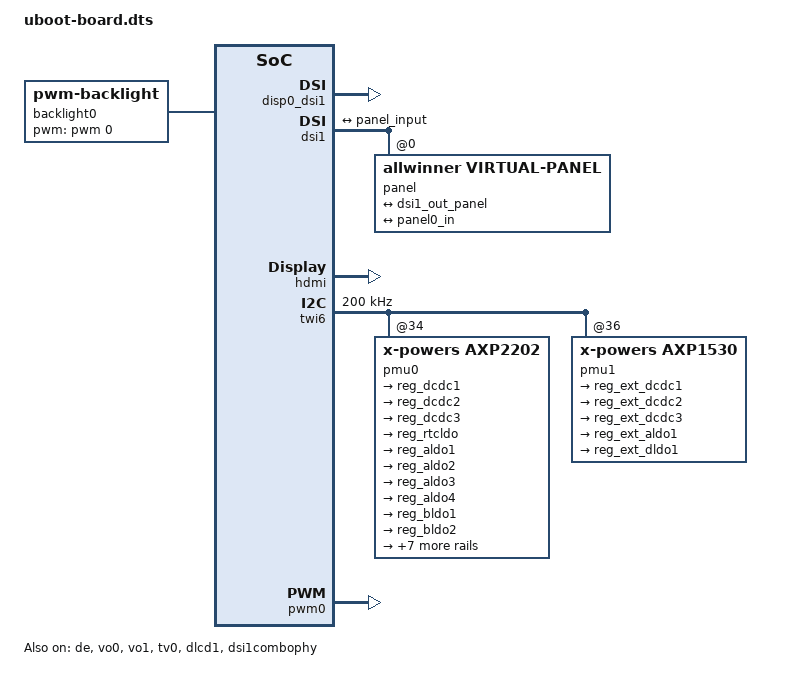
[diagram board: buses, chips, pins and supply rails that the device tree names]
/*
 * Allwinner Technology CO., Ltd. sun50iw10p1 soc board.
 *
 * soc board support.
 */
 #include <media_bus_format.h>
 #include <drm/drm_mipi_dsi.h>

/{
	backlight0: backlight0 {
		compatible = "pwm-backlight";
		brightness-levels = <
			  0   1   2   3   4   5   6   7
			  8   9  10  11  12  13  14  15
			 16  17  18  19  20  21  22  23
			 24  25  26  27  28  29  30  31
			 32  33  34  35  36  37  38  39
			 40  41  42  43  44  45  46  47
			 48  49  50  51  52  53  54  55
			 56  57  58  59  60  61  62  63
			 64  65  66  67  68  69  70  71
			 72  73  74  75  76  77  78  79
			 80  81  82  83  84  85  86  87
			 88  89  90  91  92  93  94  95
			 96  97  98  99 100 101 102 103
			104 105 106 107 108 109 110 111
			112 113 114 115 116 117 118 119
			120 121 122 123 124 125 126 127
			128 129 130 131 132 133 134 135
			136 137 138 139 140 141 142 143
			144 145 146 147 148 149 150 151
			152 153 154 155 156 157 158 159
			160 161 162 163 164 165 166 167
			168 169 170 171 172 173 174 175
			176 177 178 179 180 181 182 183
			184 185 186 187 188 189 190 191
			192 193 194 195 196 197 198 199
			200 201 202 203 204 205 206 207
			208 209 210 211 212 213 214 215
			216 217 218 219 220 221 222 223
			224 225 226 227 228 229 230 231
			232 233 234 235 236 237 238 239
			240 241 242 243 244 245 246 247
			248 249 250 251 252 253 254 255>;
		default-brightness-level = <200>;
		pwms = <&pwm 0 50000 0>;
	};
	panel_0: panel_0@0 {
		status = "okay";
		reg = <0>;
		power0-supply = <&reg_cldo4>;
		power1-supply = <&reg_cldo1>;
		reset-num = <1>;
		reset-delay-ms = <120>;
		power-delay-ms = <5>;
		reset-gpios = <&pio PD 22 1 0 3 1>; //reset
		backlight = <&backlight0>;
		dsi,flags = <MIPI_DSI_MODE_VIDEO>;
		dsi,lanes = <4>;
		dsi,format = <0>;
		panel-init-sequence = [
			05 0A 01 01
			15 00 02 36 14
			39 00 03 E0 AB BA
			39 00 03 E1 BA AB
			39 00 05 B1 10 01 47 FF
			39 00 07 B2 09 0E 01 50 50 14
			39 00 04 B3 56 D2 00
			39 00 04 B4 7A 60 04
			39 00 08 B6 BE 00 00 10 00 10 00
			39 00 08 B8 05 12 29 49 48 00 00
			39 00 27 B9 7C 6A 5E 52 4F 41 45 31 4C 4C 4C 67 53 58 4D 48 35 1D 06 7C 6A 5E 52 4F 41 45 31 4C 4C 4C 67 53 58 4D 48 35 1D 06
			39 00 11 C0 54 32 23 45 33 33 33 33 10 04 90 04 0F 00 00 C0
			39 00 0B C1 32 94 02 87 10 04 90 04 54 00
			39 00 0D C2 73 09 08 89 08 11 22 33 44 82 18 00
			39 00 17 C3 8B 49 13 11 0F 0D 00 00 00 02 02 02 02 02 02 02 02 02 05 07 02 02
			39 00 17 C4 0A 08 12 10 0E 0C 00 00 00 02 02 02 02 02 00 02 02 02 04 06 02 02
			39 00 04 C5 E8 85 76
			39 00 03 C6 2A 2A
			39 00 07 C8 21 00 32 40 44 16
			39 00 03 CA CB 43
			39 00 09 CD 0E 32 32 20 19 6B 06 B3
			39 00 05 D2 E3 2B 38 00
			39 00 0C D4 00 01 00 0E 04 44 08 10 10 4F 00
			39 00 09 E6 00 01 FF FF FF FF FF FF
			39 00 06 F0 32 05 20 00 FF
			15 00 02 F3 00
			05 32 01 11
			05 78 01 29
		];

		panel-exit-sequence = [
			05 14 01 28
			05 50 01 10
		];

		display-timings {
			native-mode = <&dsi1_timing0>;

			dsi1_timing0: timing0 {
				clock-frequency = <69000000>;
				hback-porch = <88>;
				hactive = <720>;
				hfront-porch = <32>;
				hsync-len = <4>;
				vback-porch = <9>;
				vactive = <1280>;
				vfront-porch = <78>;
				vsync-len = <4>;

			};
		};
		port {
			panel0_in: endpoint@0 {
				reg = <0>;
                                remote-endpoint = <&panel_output_0>;
                        };
		};
	};
};

&sunxi_drm {
	route {
		disp0_dsi1 {
			status = "okay";
		};
	};
};

&de {
	chn_cfg_mode = <3>;
	status = "okay";
};

&vo0 {
	status = "okay";
};

&vo1 {
	status = "okay";
};

&tv0 {
	status = "okay";
};

&dlcd1 {
	status = "okay";
};

&dsi1combophy {
	status = "okay";
};

&dsi1 {
	status = "okay";
	pinctrl-0 = <&dsi1_4lane_pins_a>;
	pinctrl-1 = <&dsi1_4lane_pins_b>;
	pinctrl-names = "active","sleep";
	ports {
		dsi1_out: port@1{
			dsi1_out_panel: endpoint {
				remote-endpoint = <&panel_input>;
			};
		};
	};
	panel: panel@0 {
		compatible = "allwinner,virtual-panel";
		status = "okay";
		reg = <0>;
		ports {
			panel_in: port@0 {
				reg = <0>;
				panel_input: endpoint@0 {
					reg = <0>;
					remote-endpoint = <&dsi1_out_panel>;
				};
			};
			panel_out: port@1 {
				reg = <1>;
				panel_output_0: endpoint@0 {
					reg = <0>;
					remote-endpoint = <&panel0_in>;
				};
			};
		};
	};
};

&hdmi {
	hdmi_used = <1>;
	cldo1-supply = <&reg_cldo1>;
	hdmi_power0 = "cldo1";
	hdmi_power_cnt = <1>;
	hdmi_hdcp_enable = <1>;
	hdmi_hdcp22_enable = <0>;
	hdmi_cts_compatibility = <0>;
	hdmi_cec_support = <1>;
	hdmi_cec_super_standby = <1>;
	hdmi_skip_bootedid = <1>;

	ddc_en_io_ctrl = <0>;
	power_io_ctrl = <0>;

	inno_phy = <
		 25000 165000 0x01000102 0x1c1c1c1c 0x00000000 0x00000000
		165000 340000 0x01040506 0x1c1c1c1c 0x00000000 0x03030300
		340000 600000 0x010f0f0f 0x1c1c1c1c 0x00000000 0x00000000>;

	status = "okay";
};

&power_sply {
	bldo1_vol = <1800>;
	bldo2_vol = <1001800>;
	cldo4_vol = <1103300>;
	dcdc1_mode = <1>;
	ext_dcdc0_mode = <1>;
	ext_dcdc1_mode = <1>;
	ext_dcdc2_mode = <1>;
	dcdc2_mode = <1>;
	bc12_mode = <0>;
	ntc_status = <2>;
	battery_exist = <1>;
};

&platform {
	eraseflag   = <0>;
	next_work   = <3>;
	debug_mode  = <1>;
};

&target {
	boot_clock = <1008>;	/*CPU boot frequency, Unit: MHz*/
	storage_type = <0xffffffff>; /*boot medium, 0-nand, 1-card0, 2-card2, -1(defualt)auto scan*/
	burn_key = <1>;		/*1:support burn key; 0:not support burn key*/
	dragonboard_test = <0>;	/*1:support card boot dragonboard; 0:not support card boot dragonboard*/
	auto_fel = <0>;
};


&charger0 {
	pmu_safe_vol = <3400>;
	ntc_cur = <50>;
	safe_temp_H = <600>;//60
	safe_temp_L = <0xFFFFFFCE>;//-5
	pmu_bat_temp_para1 = <4592>;
	pmu_bat_temp_para2 = <2781>;
	pmu_bat_temp_para3 = <2125>;
	pmu_bat_temp_para4 = <1738>;
	pmu_bat_temp_para5 = <1390>;
	pmu_bat_temp_para6 = <1118>;
	pmu_bat_temp_para7 = <906>;
	pmu_bat_temp_para8 = <606>;
	pmu_bat_temp_para9 = <415>;
	pmu_bat_temp_para10 = <290>;
	pmu_bat_temp_para11 = <244>;
	pmu_bat_temp_para12 = <206>;
	pmu_bat_temp_para13 = <175>;
	pmu_bat_temp_para14 = <150>;
	pmu_bat_temp_para15 = <110>;
	pmu_bat_temp_para16 = <83>;
};

&twi6 {
	clock-frequency = <200000>;
	pinctrl-0 = <&s_twi0_pins_a>;
	pinctrl-1 = <&s_twi0_pins_b>;
	twi-supply = <&reg_aldo3>;
	no_suspend = <1>;
	twi_drv_used = <1>;
	status = "okay";
	pmu0: pmu@34 {
		compatible = "x-powers,axp2202";
		status = "okay";
		/* interrupts = <0 IRQ_TYPE_LEVEL_LOW>;
		 * interrupt-parent = <&gic>; */
		x-powers,drive-vbus-en;

		wakeup-source;

		regulator0: regulators@0 {
			reg_dcdc1: dcdc1 {
				regulator-name = "axp2202-dcdc1";
			};
			reg_dcdc2: dcdc2 {
				regulator-name = "axp2202-dcdc2";
			};
			reg_dcdc3: dcdc3 {
				regulator-name = "axp2202-dcdc3";
			};
			reg_rtcldo: rtcldo {
				/* RTC_LDO is a fixed, always-on regulator */
				regulator-name = "axp2202-rtcldo";
			};
			reg_aldo1: aldo1 {
				regulator-name = "axp2202-aldo1";
			};
			reg_aldo2: aldo2 {
				regulator-name = "axp2202-aldo2";
			};
			reg_aldo3: aldo3 {
				regulator-name = "axp2202-aldo3";
			};
			reg_aldo4: aldo4 {
				regulator-name = "axp2202-aldo4";
			};
			reg_bldo1: bldo1 {
				regulator-name = "axp2202-bldo1";
			};
			reg_bldo2: bldo2 {
				regulator-name = "axp2202-bldo2";
			};
			reg_bldo3: bldo3 {
				regulator-name = "axp2202-bldo3";
			};
			reg_bldo4: bldo4 {
				regulator-name = "axp2202-bldo4";
			};
		//	reg_cldo1: cldo1 {
		///		regulator-name = "axp2202-cldo1";
		//	};
			reg_cldo2: cldo2 {
				regulator-name = "axp2202-cldo2";
			};
			reg_cldo3: cldo3 {
				regulator-name = "axp2202-cldo3";
			};
		//	reg_cldo4: cldo4 {
		//		regulator-name = "axp2202-cldo4";
		//	};
			reg_cpusldo: cpusldo {
				regulator-name = "axp2202-cpusldo";
			};

			reg_cldo1: cldo1 {
				regulator-name = "axp2202-cldo1";
				regulator-min-microvolt = <500000>;
				regulator-max-microvolt = <3500000>;
				regulator-enable-ramp-delay = <1000>;
			};
			reg_cldo4: cldo4 {
				regulator-name = "axp2202-cldo4";
				regulator-min-microvolt = <500000>;
				regulator-max-microvolt = <3500000>;
				regulator-enable-ramp-delay = <1000>;
			};
		};
	};

	pmu1: pmu@36 {
		compatible = "x-powers,axp1530";
		status = "okay";

		regulator1: regulators@1 {
			reg_ext_dcdc1: ext_dcdc1 {
				regulator-name = "axp1530-ext_dcdc1";
			};
			reg_ext_dcdc2: ext_dcdc2 {
				regulator-name = "axp1530-ext_dcdc2";
			};
			reg_ext_dcdc3: ext_dcdc3 {
				regulator-name = "axp1530-ext_dcdc3";
			};
			reg_ext_aldo1: ext_aldo1 {
				regulator-name = "axp1530-ext_aldo1";
			};
			reg_ext_dldo1: ext_dldo1 {
				regulator-name = "axp1530-ext_ldo1";
			};
		};
	};
};

&pwm0_pin_a {
	pins = "PD23";
	function = "pwm0";
	muxsel = <2>;
	drive-strength = <10>;
};

&pwm0_pin_b {
	pins = "PD23";
	muxsel = <0xf>;
	function = "io_disabled";
};

&pwm0 {
	pinctrl-names = "active", "sleep";
	pinctrl-0 = <&pwm0_pin_a>;
	pinctrl-1 = <&pwm0_pin_b>;
	status = "okay";
};

&sdc0_pins_a {
	allwinner,pins = "PF0", "PF1", "PF2",
			 "PF3", "PF4", "PF5";
	allwinner,function = "sdc0";
	allwinner,muxsel = <2>;
	allwinner,drive = <3>;
	allwinner,pull = <1>;
};

&sdc0_pins_b {
	allwinner,pins = "PF0", "PF1", "PF2",
			 "PF3", "PF4", "PF5";
	allwinner,function = "io_disabled";
	allwinner,muxsel = <7>;
	allwinner,drive = <1>;
	allwinner,pull = <1>;
};

&sdc0_pins_c {
	allwinner,pins = "PF0", "PF1", "PF2",
			 "PF3", "PF4", "PF5";
	allwinner,function = "uart0_jtag";
	allwinner,muxsel = <3>;
	allwinner,drive = <1>;
	allwinner,pull = <1>;
};


&sdc2_pins_a {
	allwinner,pins = "PC1", "PC5", "PC6",
			 "PC8", "PC9", "PC10", "PC11",
			 "PC13", "PC14", "PC15", "PC16";
	allwinner,function = "sdc2";
	allwinner,muxsel = <3>;
	allwinner,drive = <3>;
	allwinner,pull = <1>;
};

&sdc2_pins_b {
	allwinner,pins = "PC0", "PC1", "PC5", "PC6",
			 "PC8", "PC9", "PC10", "PC11",
			 "PC13", "PC14", "PC15", "PC16";
	allwinner,function = "io_disabled";
	allwinner,muxsel = <7>;
	allwinner,drive = <1>;
	allwinner,pull = <1>;
};

&sdc2_pins_c {
	allwinner,pins = "PC0";
	allwinner,function = "sdc2";
	allwinner,muxsel = <3>;
	allwinner,drive = <3>;
	allwinner,pull = <2>;
};

&nand0_pins_a {
	allwinner,pins = "PC0", "PC1", "PC2", "PC5",
			 "PC8", "PC9", "PC10", "PC11",
			 "PC12", "PC13", "PC14", "PC15",
			 "PC16";
	allwinner,pname= "nand0_we", "nand0_ale","nand0_cle", "nand0_nre",
			 "nand0_d0", "nand0_d1", "nand0_d2", "nand0_d3",
			 "nand0_d4", "nand0_d5", "nand0_d6", "nand0_d7",
			 "nand0_ndqs";
	allwinner,function = "nand0";
	allwinner,muxsel = <2>;
	allwinner,drive = <1>;
	allwinner,pull = <0>;
};

&nand0_pins_b {
	allwinner,pins = "PC4", "PC6", "PC03", "PC07";
	allwinner,pname= "nand0_ce0", "nand0_rb0", "nand0_ce1", "nand0_rb1";
	allwinner,function = "nand0";
	allwinner,muxsel = <2>;
	allwinner,drive = <1>;
	allwinner,pull = <1>;	/* only RB&CE should be pulled up */
};

&nand0_pins_c {
	allwinner,pins = "PC0", "PC1", "PC2", "PC3",
			 "PC4", "PC5", "PC6", "PC7",
			 "PC8", "PC9", "PC10", "PC11",
			 "PC12", "PC13", "PC14", "PC15",
			 "PC16";
	allwinner,function = "io_disabled";
	allwinner,muxsel = <7>;
	allwinner,drive = <1>;
	allwinner,pull = <0>;
};

&lvds0_pins_a {
	allwinner,pins = "PD0", "PD1", "PD2", "PD3", "PD4", "PD5", "PD6", "PD7", "PD8", "PD9";
	allwinner,pname = "PD0", "PD1", "PD2", "PD3", "PD4", "PD5", "PD6", "PD7", "PD8", "PD9";
	allwinner,function = "lvds0";
	allwinner,muxsel = <3>;
	allwinner,drive = <3>;
	allwinner,pull = <0>;
};

&lvds0_pins_b {
	allwinner,pins = "PD0", "PD1", "PD2", "PD3", "PD4", "PD5", "PD6", "PD7", "PD8", "PD9";
	allwinner,pname = "PD0", "PD1", "PD2", "PD3", "PD4", "PD5", "PD6", "PD7", "PD8", "PD9";
	allwinner,function = "lvds0_suspend";
	allwinner,muxsel = <7>;
	allwinner,drive = <3>;
	allwinner,pull = <0>;
};

&lvds1_pins_a {
	allwinner,pins = "PD10", "PD11", "PD12", "PD13", "PD14", "PD15", "PD18", "PD19", "PD16", "PD17";
	allwinner,pname = "PD10", "PD11", "PD12", "PD13", "PD14", "PD15", "PD18", "PD19", "PD16", "PD17";
	allwinner,function = "lvds1";
	allwinner,muxsel = <3>;
	allwinner,drive = <3>;
	allwinner,pull = <0>;
};

&lvds1_pins_b {
	allwinner,pins = "PD10", "PD11", "PD12", "PD13", "PD14", "PD15", "PD18", "PD19", "PD16", "PD17";
	allwinner,pname = "PD10", "PD11", "PD12", "PD13", "PD14", "PD15", "PD18", "PD19", "PD16", "PD17";
	allwinner,function = "lvds1_suspend";
	allwinner,muxsel = <7>;
	allwinner,drive = <3>;
	allwinner,pull = <0>;
};

&lvds2_pins_a {
	allwinner,pins = "PJ7", "PJ6", "PJ5", "PJ4", "PJ3", "PJ2", "PJ1", "PJ0", "PJ8", "PJ9";
	allwinner,pname = "PJ7", "PJ6", "PJ5", "PJ4", "PJ3", "PJ2", "PJ1", "PJ0", "PJ8", "PJ9";
	allwinner,function = "lvds2";
	allwinner,muxsel = <3>;
	allwinner,drive = <3>;
	allwinner,pull = <0>;
};

&lvds2_pins_b {
	allwinner,pins = "PJ7", "PJ6", "PJ5", "PJ4", "PJ3", "PJ2", "PJ1", "PJ0", "PJ8", "PJ9";
	allwinner,pname = "PJ7", "PJ6", "PJ5", "PJ4", "PJ3", "PJ2", "PJ1", "PJ0", "PJ8", "PJ9";
	allwinner,function = "lvds2_suspend";
	allwinner,muxsel = <7>;
	allwinner,drive = <3>;
	allwinner,pull = <0>;
};

&lvds3_pins_a {
	allwinner,pins = "PJ10", "PJ11", "PJ12", "PJ13", "PJ14", "PJ15", "PJ16", "PJ17", "PJ18", "PJ19";
	allwinner,pname = "PJ10", "PJ11", "PJ12", "PJ13", "PJ14", "PJ15", "PJ16", "PJ17", "PJ18", "PJ19";
	allwinner,function = "lvds3";
	allwinner,muxsel = <3>;
	allwinner,drive = <3>;
	allwinner,pull = <0>;
};

&lvds3_pins_b {
	allwinner,pins = "PJ10", "PJ11", "PJ12", "PJ13", "PJ14", "PJ15", "PJ16", "PJ17", "PJ18", "PJ19";
	allwinner,pname = "PJ10", "PJ11", "PJ12", "PJ13", "PJ14", "PJ15", "PJ16", "PJ17", "PJ18", "PJ19";
	allwinner,function = "lvds3_suspend";
	allwinner,muxsel = <7>;
	allwinner,drive = <3>;
	allwinner,pull = <0>;
};

&lcd1_lvds2link_pins_a {
	allwinner,pins = "PJ10", "PJ11", "PJ12", "PJ13", "PJ14", "PJ15", "PJ16", "PJ17", "PJ18", "PJ19", \
	"PJ7", "PJ6", "PJ5", "PJ4", "PJ3", "PJ2", "PJ1", "PJ0", "PJ8", "PJ9";
	allwinner,pname = "PJ10", "PJ11", "PJ12", "PJ13", "PJ14", "PJ15", "PJ16", "PJ17", "PJ18", "PJ19", \
	"PJ7", "PJ6", "PJ5", "PJ4", "PJ3", "PJ2", "PJ1", "PJ0", "PJ8", "PJ9";
	allwinner,function = "lvds3";
	allwinner,muxsel = <3>;
	allwinner,drive = <3>;
	allwinner,pull = <0>;
};

&lcd1_lvds2link_pins_b {
	allwinner,pins = "PJ10", "PJ11", "PJ12", "PJ13", "PJ14", "PJ15", "PJ16", "PJ17", "PJ18", "PJ19", \
	"PJ7", "PJ6", "PJ5", "PJ4", "PJ3", "PJ2", "PJ1", "PJ0", "PJ8", "PJ9";
	allwinner,pname = "PJ10", "PJ11", "PJ12", "PJ13", "PJ14", "PJ15", "PJ16", "PJ17", "PJ18", "PJ19", \
	"PJ7", "PJ6", "PJ5", "PJ4", "PJ3", "PJ2", "PJ1", "PJ0", "PJ8", "PJ9";
	allwinner,function = "lvds3_suspend";
	allwinner,muxsel = <7>;
	allwinner,drive = <3>;
	allwinner,pull = <0>;
};

&lvds2link_pins_a {
	allwinner,pins = "PD0", "PD1", "PD2", "PD3", "PD4", "PD5", "PD8", "PD9", "PD6", "PD7", \
	"PD10", "PD11", "PD12", "PD13", "PD14", "PD15", "PD18", "PD19", "PD16", "PD17";
	allwinner,pname = "PD0", "PD1", "PD2", "PD3", "PD4", "PD5", "PD8", "PD9", "PD6", "PD7", \
	"PD10", "PD11", "PD12", "PD13", "PD14", "PD15", "PD18", "PD19", "PD16", "PD17";
	allwinner,function = "lvds2link";
	allwinner,muxsel = <3>;
	allwinner,drive = <3>;
	allwinner,pull = <0>;
};

&lvds2link_pins_b {
	allwinner,pins = "PD0", "PD1", "PD2", "PD3", "PD4", "PD5", "PD8", "PD9", "PD6", "PD7", \
	"PD10", "PD11", "PD12", "PD13", "PD14", "PD15", "PD18", "PD19", "PD16", "PD17";
	allwinner,pname = "PD0", "PD1", "PD2", "PD3", "PD4", "PD5", "PD8", "PD9", "PD6", "PD7", \
	"PD10", "PD11", "PD12", "PD13", "PD14", "PD15", "PD18", "PD19", "PD16", "PD17";
	allwinner,function = "lvds2link_suspend";
	allwinner,muxsel = <7>;
	allwinner,drive = <3>;
	allwinner,pull = <0>;
};

&rgb24_pins_a {
	allwinner,pins = "PD0", "PD1", "PD2", "PD3", "PD4", "PD5", "PD6", "PD7", "PD8", "PD9", \
	"PD10", "PD11", "PD12", "PD13", "PD14", "PD15", "PD16", "PD17", "PD8", "PD9", \
	"PD20", "PD21", "PD22", "PD23", "PD24", "PD25", "PD26", "PD27";
	allwinner,pname = "PD0", "PD1", "PD2", "PD3", "PD4", "PD5", "PD6", "PD7", "PD8", "PD9", \
	"PD10", "PD11", "PD12", "PD13", "PD14", "PD15", "PD16", "PD17", "PD8", "PD9", \
	"PD20", "PD21", "PD22", "PD23", "PD24", "PD25", "PD26", "PD27";
	allwinner,function = "rgb24";
	allwinner,muxsel = <2>;
	allwinner,drive = <3>;
	allwinner,pull = <0>;
};

&rgb24_pins_b {
	allwinner,pins = "PD0", "PD1", "PD2", "PD3", "PD4", "PD5", "PD6", "PD7", "PD8", "PD9", \
	"PD10", "PD11", "PD12", "PD13", "PD14", "PD15", "PD16", "PD17", "PD8", "PD9", \
	"PD20", "PD21", "PD22", "PD23", "PD24", "PD25", "PD26", "PD27";
	allwinner,pname = "PD0", "PD1", "PD2", "PD3", "PD4", "PD5", "PD6", "PD7", "PD8", "PD9", \
	"PD10", "PD11", "PD12", "PD13", "PD14", "PD15", "PD16", "PD17", "PD8", "PD9", \
	"PD20", "PD21", "PD22", "PD23", "PD24", "PD25", "PD26", "PD27";
	allwinner,function = "rgb24_suspend";
	allwinner,muxsel = <7>;
	allwinner,drive = <3>;
	allwinner,pull = <0>;
};

&rgb18_pins_a {
	allwinner,pins = "PD0", "PD1", "PD2", "PD3", "PD4", "PD5", "PD6", "PD7", "PD8", "PD9", \
	"PD10", "PD11", "PD12", "PD13", "PD14", "PD15", "PD16", "PD17", "PD18", "PD19", \
	"PD20", "PD21";
	allwinner,pname = "PD0", "PD1", "PD2", "PD3", "PD4", "PD5", "PD6", "PD7", "PD8", "PD9", \
	"PD10", "PD11", "PD12", "PD13", "PD14", "PD15", "PD16", "PD17", "PD18", "PD19", \
	"PD20", "PD21";
	allwinner,function = "rgb18";
	allwinner,muxsel = <2>;
	allwinner,drive = <3>;
	allwinner,pull = <0>;
};

&rgb18_pins_b {
	allwinner,pins = "PD0", "PD1", "PD2", "PD3", "PD4", "PD5", "PD6", "PD7", "PD8", "PD9", \
	"PD10", "PD11", "PD12", "PD13", "PD14", "PD15", "PD16", "PD17", "PD18", "PD19", \
	"PD20", "PD21";
	allwinner,pname = "PD0", "PD1", "PD2", "PD3", "PD4", "PD5", "PD6", "PD7", "PD8", "PD9", \
	"PD10", "PD11", "PD12", "PD13", "PD14", "PD15", "PD16", "PD17", "PD18", "PD19", \
	"PD20", "PD21";
	allwinner,function = "rgb18_suspend";
	allwinner,muxsel = <7>;
	allwinner,drive = <1>;
	allwinner,pull = <0>;
};

&eink_pins_a {
	allwinner,pins = "PD0", "PD1", "PD2", "PD3", "PD4", "PD5", "PD6", "PD7", "PD8", "PD9", \
	"PD10", "PD11", "PD12", "PD13", "PD14", "PD15", "PD16", "PD17", "PD18", "PD19", \
	"PD20", "PD21", "PD22";
	allwinner,pname = "eink_pin0", "eink_pin1", "eink_pin2", "eink_pin3", "eink_pin4", \
			  "eink_pin5", "eink_pin6", "eink_pin7", "eink_pin8", "eink_pin9", \
			  "eink_pin10", "eink_pin11", "eink_pin12", "eink_pin13", "eink_pin14", \
			  "eink_pin15", "eink_pinoeh", "eink_pinleh", "eink_pinckh", "eink_pinsth", \
			  "eink_pinckv", "eink_pinmod", "eink_pinstv";
	allwinner,function = "eink";
	allwinner,muxsel = <5>;
	allwinner,drive = <3>;
	allwinner,pull = <0>;
};

&eink_pins_b {
	allwinner,pins = "PD0", "PD1", "PD2", "PD3", "PD4", "PD5", "PD6", "PD7", "PD8", "PD9", \
	"PD10", "PD11", "PD12", "PD13", "PD14", "PD15", "PD16", "PD17", "PD18", "PD19", \
	"PD20", "PD21", "PD22";
	allwinner,pname = "eink_pin0", "eink_pin1", "eink_pin2", "eink_pin3", "eink_pin4", \
			  "eink_pin5", "eink_pin6", "eink_pin7", "eink_pin8", "eink_pin9", \
			  "eink_pin10", "eink_pin11", "eink_pin12", "eink_pin13", "eink_pin14", \
			  "eink_pin15", "eink_pinoeh", "eink_pinleh", "eink_pinckh", "eink_pinsth", \
			  "eink_pinckv", "eink_pinmod", "eink_pinstv";
	allwinner,function = "eink_suspend";
	allwinner,muxsel = <7>;
	allwinner,drive = <1>;
	allwinner,pull = <0>;
};

&dsi0_4lane_pins_a {
	allwinner,pins = "PD0", "PD1", "PD2", "PD3", "PD4", "PD5", "PD6", "PD7", "PD8", "PD9";
	allwinner,pname = "PD0", "PD1", "PD2", "PD3", "PD4", "PD5", "PD6", "PD7", "PD8", "PD9";
	allwinner,function = "dsi0";
	allwinner,muxsel = <4>;
	allwinner,drive = <3>;
	allwinner,pull = <0>;
};

&dsi0_4lane_pins_b {
	allwinner,pins = "PD0", "PD1", "PD2", "PD3", "PD4", "PD5", "PD6", "PD7", "PD8", "PD9";
	allwinner,pname = "PD0", "PD1", "PD2", "PD3", "PD4", "PD5", "PD6", "PD7", "PD8", "PD9";
	allwinner,function = "io_disabled";
	allwinner,muxsel = <7>;
	allwinner,drive = <1>;
	allwinner,pull = <0>;
};

&dsi1_4lane_pins_a {
	allwinner,pins = "PD10", "PD11", "PD12", "PD13", "PD14", "PD15", "PD16", "PD17", "PD18", "PD19";
	allwinner,pname = "PD10", "PD11", "PD12", "PD13", "PD14", "PD15", "PD16", "PD17", "PD18", "PD19";
	allwinner,function = "dsi1";
	allwinner,muxsel = <4>;
	allwinner,drive = <3>;
	allwinner,pull = <0>;
};

&dsi1_4lane_pins_b {
	allwinner,pins = "PD10", "PD11", "PD12", "PD13", "PD14", "PD15", "PD16", "PD17", "PD18", "PD19";
	allwinner,pname = "PD10", "PD11", "PD12", "PD13", "PD14", "PD15", "PD16", "PD17", "PD18", "PD19";
	allwinner,function = "io_disabled";
	allwinner,muxsel = <7>;
	allwinner,drive = <1>;
	allwinner,pull = <0>;
};

&card0_boot_para {  /* Avoid dtc compiling warnings. @TODO: Developer should modify this to the actual value */
	/* reg = <0x0 0x2 0x0 0x0>;  [> Avoid dtc compiling warnings. @TODO: Developer should modify this to the actual value <] */
	device_type = "card0_boot_para";
	card_ctrl = <0x0>;
	card_high_speed = <0x1>;
	card_line = <0x4>;
	clk_mmc = "sdmmc0_mod";
	pll-0 = "hosc";
	pll-1 = "pll_periph1_400m";
	pll-2 = "pll_periph1_300m";
	pinctrl-0 = <&sdc0_pins_a>;
};

&card2_boot_para {
	/*
	* Avoid dtc compiling warnings.
	* @TODO: Developer should modify this to the actual value
	*/
	reg = <0x0 0x3 0x0 0x0>;
	device_type = "card2_boot_para";
	card_ctrl = <0x2>;
	card_high_speed = <0x1>;
	card_line = <0x8>;
	clk_mmc = "sdmmc2_mod";
	pll-0 = "hosc";
	pll-1 = "pll_periph1_800m";
	pll-2 = "pll_periph1_600m";
	pinctrl-0 = <&sdc2_pins_a &sdc2_pins_c>;
	sdc_ex_dly_used = <0x2>;
	sdc_tm4_hs200_max_freq = <200>;
	sdc_tm4_hs400_max_freq = <200>;
	sdc_tm4_win_th = <0x7>;
	sdc_io_1v8 = <0x1>;
	sdc_type = "tm4";
};

&gpio_bias {  /* Avoid dtc compiling warnings. @TODO: Developer should modify this to the actual value */
	device_type = "gpio_bias";
	pc_bias = <1800>;
	pl_supply = "aldo3_vol";
};

&power_delay {
	device_type = "power_delay";
	aldo3_vol_delay = <20000>;
};

&nand0 {
	compatible = "allwinner,sun55iw3-nand";
	device_type = "nand0";
	//reg = <0x0 0x04011000 0x0 0x1000>;/* nand0 */
	pinctrl-names = "default", "sleep";
	pinctrl-0 = <&nand0_pins_a &nand0_pins_b>;
	pinctrl-1 = <&nand0_pins_c>;
	nand0_regulator1 = "vcc-nand";
	nand0_regulator2 = "none";
	nand0_cache_level = <0x55aaaa55>;
	nand0_flush_cache_num = <0x55aaaa55>;
	nand0_capacity_level = <0x55aaaa55>;
	nand0_id_number_ctl = <0x55aaaa55>;
	nand0_print_level = <0x55aaaa55>;
	nand0_p0 = <0x55aaaa55>;
	nand0_p1 = <0x55aaaa55>;
	nand0_p2 = <0x55aaaa55>;
	nand0_p3 = <0x55aaaa55>;
	chip_code = "sun50iw10";
	status = "disabled";
};

&aliases {
	nand0 = &nand0;
	twi6 = &twi6;
	disp = &disp;
	lcd0 = &lcd0;
	lcd1 = &lcd1;
	eink = &eink;
	pmu0 = &pmu0;
	pwm  = &pwm;
	pwm0 = &pwm0;

};
